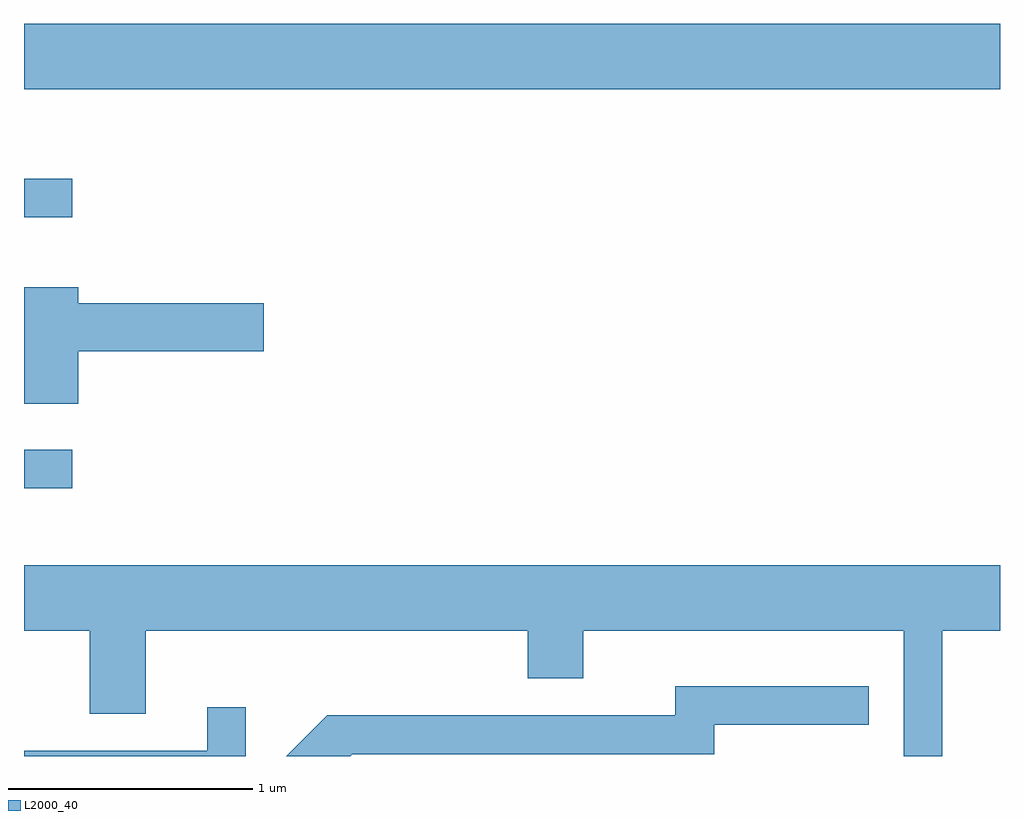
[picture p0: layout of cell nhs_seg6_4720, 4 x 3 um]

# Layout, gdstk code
import gdstk
lib = gdstk.Library(unit=1e-6, precision=1e-09)
def R(c, l, rs):  # rectangles x0, y0, x1, y1
    for r in rs: c.add(gdstk.rectangle(r[:2], r[2:], *l))
def P(c, l, *ps):  # polygons
    for p in ps: c.add(gdstk.Polygon(p, *l))
L2000_40 = (2000, 40)

nhs_seg6_4720 = lib.new_cell('nhs_seg6_4720')
R(nhs_seg6_4720, L2000_40, [(329.611,1577.261,329.808,1577.419), (329.611,1578.371,329.808,1578.529), (329.611,1578.896,333.611,1579.164)])
P(nhs_seg6_4720, L2000_40, [(329.834,1577.821),(330.594,1577.821),(330.594,1578.019),(329.834,1578.019),(329.834,1578.084),(329.611,1578.084),(329.611,1577.606),(329.834,1577.606)],
  [(333.374,1576.676),(333.611,1576.676),(333.611,1576.944),(329.611,1576.944),(329.611,1576.676),(329.881,1576.676),(329.881,1576.336),(330.109,1576.336),(330.109,1576.676),(331.676,1576.676),(331.676,1576.481),(331.904,1576.481),(331.904,1576.676),(333.216,1576.676),(333.216,1576.162),(333.374,1576.162)],
  [(330.957,1576.171),(332.439,1576.171),(332.439,1576.291),(333.073,1576.291),(333.073,1576.449),(332.281,1576.449),(332.281,1576.329),(330.854,1576.329),(330.686,1576.162),(330.948,1576.162)],
  [(330.519,1576.363),(330.361,1576.363),(330.361,1576.184),(329.611,1576.184),(329.611,1576.162),(330.519,1576.162)])

lib.write_gds('nhs_seg6_4720.gds')
